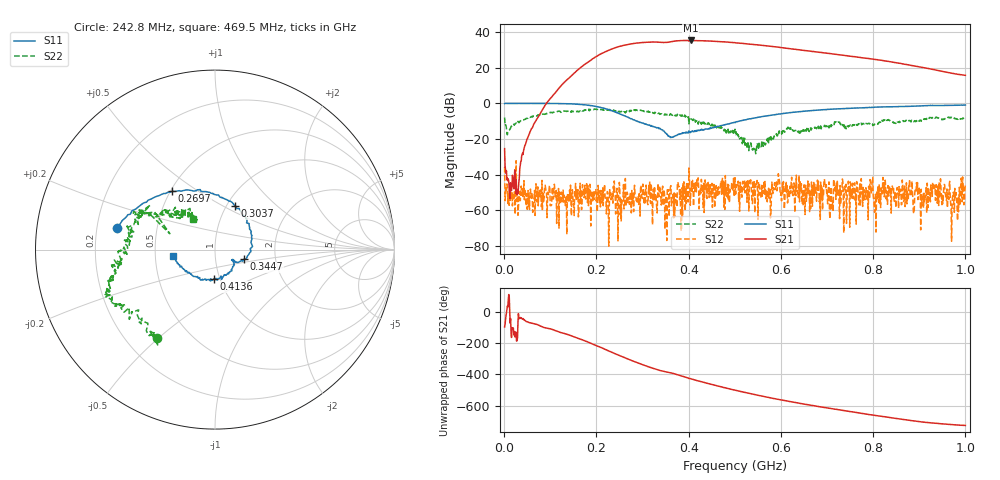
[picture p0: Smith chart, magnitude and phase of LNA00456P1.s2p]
! Created with skrf 1.9.0 (http://scikit-rf.org).
# Hz S RI R 50.0
!freq ReS11 ImS11 ReS21 ImS21 ReS12 ImS12 ReS22 ImS22
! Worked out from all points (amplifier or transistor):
!   1001 points, 1 MHz to 1 GHz, reference 50 ohm
!   highest |S21| = 35.3 dB at 404.6 MHz (marker M1)
!   |S21| within 3 dB of that: 255.5 MHz to 568.2 MHz (312.7 MHz wide, 75.9 % of centre)
!   unconditionally stable (mu >= 1): 26.57 MHz to 56.42 MHz; 249.8 MHz to 400.5 MHz; 400.9 MHz to end of sweep (the widest 3 of 37)
!   at 166.8 MHz: K = 1.33, MAG = 30.8 dB, |S12| = -48.2 dB
!   at 500.5 MHz: K = 1.31, MAG = 34.5 dB, |S12| = -41.6 dB
!   at 1 GHz: K = 2.10, MAG = 24.4 dB, |S12| = -45.1 dB
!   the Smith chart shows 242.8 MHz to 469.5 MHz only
!   S11 on the Smith chart (normalised r, x): 242.8 MHz: 0.28, +0.10; 269.7 MHz: 0.51, +0.40; 303.7 MHz: 1.09, +0.57; 344.7 MHz: 1.37, -0.15; 413.6 MHz: 0.94, -0.31; 469.5 MHz: 0.62, -0.05
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1000000  0.9874 0.0138  -0.00676 -0.0535  -0.0161 0.00368  0.273 0.294
1.08892e8  0.5267 -0.8446  -0.8687 -1.648  0.00496 -0.0022  0.4221 -0.3783
1.67833e8  -0.2241 -0.9015  -10.63 -0.423  0.000181 0.00104  0.0456 -0.6249
2.09791e8  -0.6554 -0.3903  -16.13 18.23  0.00252 -0.00262  -0.1977 -0.6388
2.42758e8  -0.5483 0.1228  0.6547 36.81  -0.00315 0.000177  -0.3204 -0.4906
2.69731e8  -0.2381 0.3258  25.13 37.21  -0.000279 0.00222  -0.5064 -0.3486
3.03697e8  0.1108 0.2427  48.62 15.52  0.00136 0.000578  -0.5616 -0.1701
3.34666e8  0.205 0.0128  50.8 -11.29  -0.00373 0.00093  -0.5276 -0.000956
3.44656e8  0.1609 -0.0536  47.47 -17.93  0.000146 0.00136  -0.5037 0.0345
3.72628e8  0.1053 -0.0673  43.39 -35.86  -0.00114 0.00123  -0.4302 0.1797
4.04596e8  0.0347 -0.1547  21.17 -53.97  -0.000644 0.00311  -0.3093 0.1976
4.13587e8  -0.00548 -0.1623  13.96 -55.79  -0.00286 0.00187  -0.2817 0.2221
4.41559e8  -0.1354 -0.1356  -8.156 -55.73  0.00315 0.000749  -0.1742 0.2213
4.69531e8  -0.2347 -0.0351  -25.96 -46.89  0.00427 0.00453  -0.1234 0.1711
5.005e8  -0.2648 0.1123  -39.12 -31.6  -0.00734 -0.00386  -0.1223 0.1441
5.39461e8  -0.2143 0.3141  -43.69 -10.26  0.00501 -0.00461  -0.044 0.0304
5.85415e8  -0.0447 0.4788  -37.5 9.954  -0.000729 -0.00459  -0.1141 -0.0445
6.26374e8  0.1401 0.5458  -26.48 20.24  0.00154 -0.0021  -0.1437 -0.0889
6.67333e8  0.3355 0.5322  -14.8 24.35  0.00163 -0.00499  -0.1921 -0.0386
7.53247e8  0.6336 0.3666  3.304 20.51  -0.00323 -0.00143  -0.2454 0.0103
8.34166e8  0.7887 0.1347  10.55 10.55  -0.00147 0.00208  -0.338 0.0369
1e9  0.8114 -0.387  6.071 -0.6877  -0.0029 0.00477  -0.2302 0.2967
